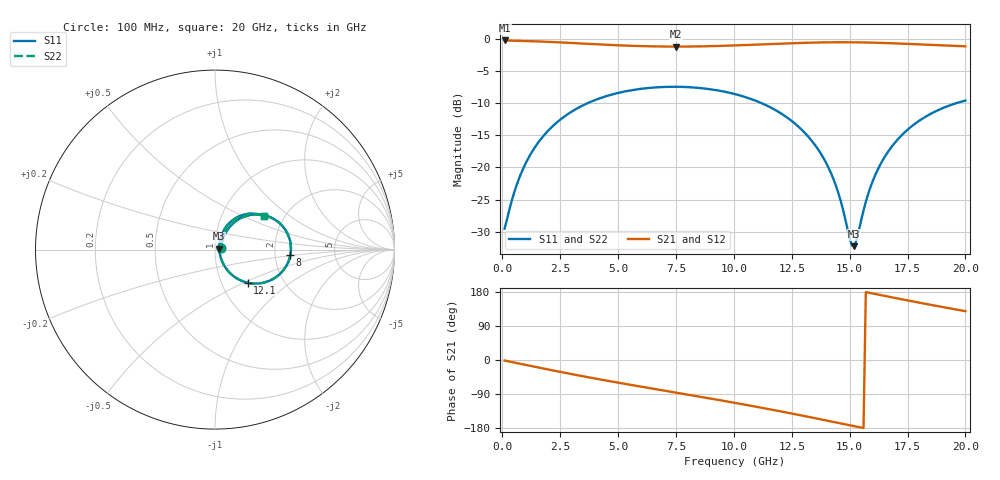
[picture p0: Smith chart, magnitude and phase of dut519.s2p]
! Touchstone file exported from HFSS 2026.1.0
!  File:  C:/ffzhzh/LocalFiles/Ansys_Project_Files/temp_train_TSV_RDL_519_1783110313_35180.aedt
!  Generated:  04:40:03 AM Jul  4, 2026
!  Design:  TSV_RDL
!  Project:  temp_train_TSV_RDL_519_1783110313_35180
! Variables:
!  h_bsmrdl = 3.58um
!  h_ox = 20um
!  h_rdl = 5um
!  h_sub = 85.65um
!  h_tmrdl = 4.25um
!  h_tsv = 85.65um
!  h_via = 3um
!  l_bsmrdl = 832.57um
!  l_sub = 3684.4um
!  l_tmrdl = 171.72um
!  m_sub = 200um
!  pitch = 33.28um
!  r_tsv = 2.01um
!  s_tmrdl = 10um
!  w_bsmrdl = 22.46um
!  w_sub = 500um
!  w_tmrdl = 10.81um
!  x_tsv_center1 = 177.125um
!  x_tsv_center2 = 1032.155um
!  x_tsv_center3 = 1214.685um
!  x_tsv_center4 = 2069.715um
!  x_tsv_center5 = 2252.245um
!  x_tsv_center6 = 3107.275um
# GHz S MA R 50.000000
! Terminal data exported
! Port[1] = TM_RDL1_1_T1
! Port[2] = TM_RDL5_1_T1
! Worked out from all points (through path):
!   200 points, 100 MHz to 20 GHz, reference 50 ohm
!   highest |S21| = -0.28 dB at 100 MHz (marker M1); lowest = -1.2 dB at 7.5 GHz (marker M2)
!   group delay of S21, straight-line fit = 31.7 ps
!   lowest |S11| = -32.2 dB at 15.2 GHz (marker M3), VSWR 1.05, Z = 52.5 + j0.489 ohm
!   |S11| at or under -10 dB: start of sweep to 3.692 GHz; 11.19 GHz to 19.62 GHz (8.431 GHz wide, 54.7 % of centre)
!   |S22| runs from -32.2 to -7.5 dB; largest |S21 - S12| = 2.2e-14
!   S11 on the Smith chart (normalised r, x): 100 MHz: 1.07, +0.02; 8 GHz: 2.43, -0.19; 12.1 GHz: 1.32, -0.52; 20 GHz: 1.58, +0.66
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0.1  0.03352 18.7  0.9684 -1.4  0.9684 -1.4  0.03352 18.7
! Gamma 0 0 0 0
! Port Impedance 50 0 50 0
0.6  0.07134 52.9  0.9629 -7.8  0.9629 -7.8  0.07135 52.9
1.3  0.1338 57.8  0.9552 -16.6  0.9552 -16.6  0.1338 57.8
2.3  0.2193 51.5  0.9393 -29.0  0.9393 -29.0  0.2193 51.5
3.5  0.3047 40.1  0.9156 -43.1  0.9156 -43.1  0.3047 40.1
5.1  0.3825 24.1  0.8867 -60.9  0.8867 -60.9  0.3825 24.1
6.8  0.4204 7.3  0.8696 -78.8  0.8696 -78.8  0.4204 7.3
7.5  0.4231 0.5  0.8678 -86.1  0.8678 -86.1  0.4231 0.5
8  0.4206 -4.4  0.8685 -91.3  0.8685 -91.3  0.4206 -4.4
10.1  0.3692 -25.2  0.8868 -113.7  0.8868 -113.7  0.3692 -25.2
12.1  0.2584 -45.5  0.9165 -136.5  0.9165 -136.5  0.2584 -45.5
13.4  0.1582 -57.2  0.9322 -152.2  0.9322 -152.2  0.1583 -57.2
13.9  0.1158 -59.9  0.9358 -158.4  0.9358 -158.4  0.1159 -59.9
14.3  0.08143 -59.4  0.9375 -163.4  0.9375 -163.4  0.08145 -59.4
14.6  0.0562 -54.8  0.9379 -167.1  0.9379 -167.1  0.05622 -54.8
15  0.02822 -26.0  0.9375 -172.1  0.9375 -172.1  0.02825 -26.0
15.1  0.02483 -8.9  0.9372 -173.4  0.9372 -173.4  0.02487 -8.9
15.2  0.0245 11.0  0.9368 -174.6  0.9368 -174.6  0.02454 10.9
15.9  0.0703 63.9  0.9322 176.7  0.9322 176.7  0.07031 63.9
16.7  0.1357 64.4  0.9232 166.9  0.9232 166.9  0.1357 64.3
18.1  0.2366 52.9  0.9014 150.2  0.9014 150.2  0.2366 52.8
20  0.3308 34.3  0.872 128.8  0.872 128.8  0.3309 34.3
